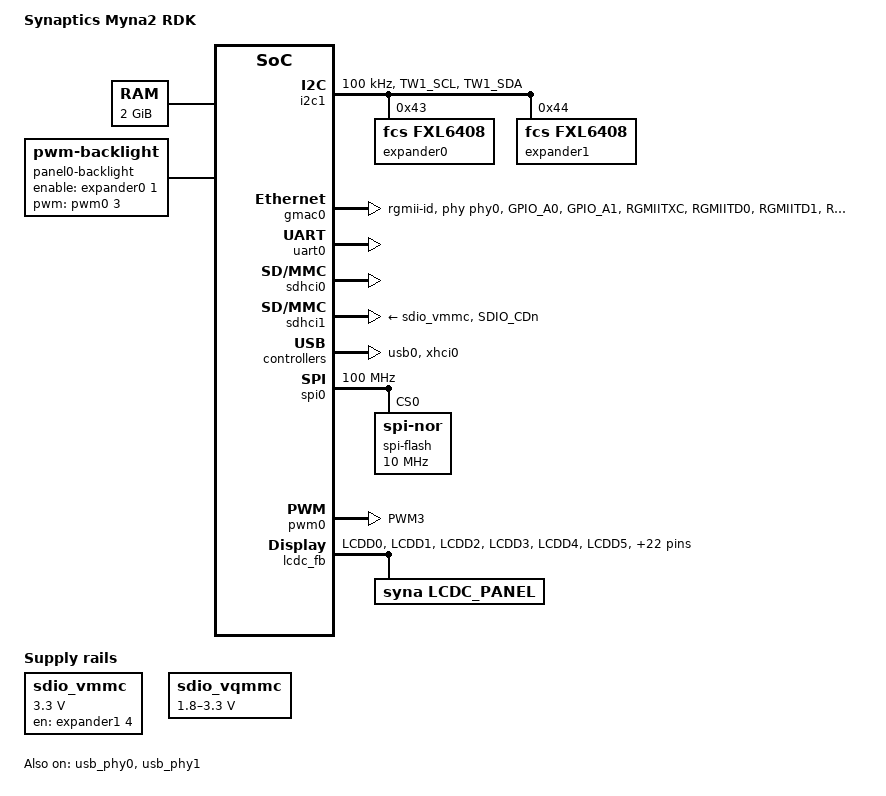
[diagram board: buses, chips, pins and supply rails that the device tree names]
// SPDX-License-Identifier: GPL-2.0+
/*
 * Copyright (C) 2016~2023 Synaptics Incorporated. All rights reserved.
 *
 * This program is free software; you can redistribute it and/or modify
 * it under the terms of the GNU General Public License version 2 or
 * later as published by the Free Software Foundation.
 *
 * INFORMATION CONTAINED IN THIS DOCUMENT IS PROVIDED "AS-IS," AND
 * SYNAPTICS EXPRESSLY DISCLAIMS ALL EXPRESS AND IMPLIED WARRANTIES,
 * INCLUDING ANY IMPLIED WARRANTIES OF MERCHANTABILITY AND FITNESS FOR
 * A PARTICULAR PURPOSE, AND ANY WARRANTIES OF NON-INFRINGEMENT OF ANY
 * INTELLECTUAL PROPERTY RIGHTS. IN NO EVENT SHALL SYNAPTICS BE LIABLE
 * FOR ANY DIRECT, INDIRECT, INCIDENTAL, SPECIAL, PUNITIVE, OR
 * CONSEQUENTIAL DAMAGES ARISING OUT OF OR IN CONNECTION WITH THE USE
 * OF THE INFORMATION CONTAINED IN THIS DOCUMENT, HOWEVER CAUSED AND
 * BASED ON ANY THEORY OF LIABILITY, WHETHER IN AN ACTION OF CONTRACT,
 * NEGLIGENCE OR OTHER TORTIOUS ACTION, AND EVEN IF SYNAPTICS WAS
 * ADVISED OF THE POSSIBILITY OF SUCH DAMAGE. IF A TRIBUNAL OF
 * COMPETENT JURISDICTION DOES NOT PERMIT THE DISCLAIMER OF DIRECT
 * DAMAGES OR ANY OTHER DAMAGES, SYNAPTICS' TOTAL CUMULATIVE LIABILITY
 * TO ANY PARTY SHALL NOT EXCEED ONE HUNDRED U.S. DOLLARS.
 */

/dts-v1/;

#include "myna2.dtsi"
#include <dt-bindings/gpio/gpio.h>

/ {
	model = "Synaptics Myna2 RDK";
	compatible = "Synaptics,myna2", "Synaptics,asserial";

	memory {
		device_type = "memory";
		reg = <0 0 0 0x80000000>;
	};

	chosen {
		stdout-path = &uart0;
	};

	regulators {
		compatible = "simple-bus";
		#address-cells = <1>;
		#size-cells = <0>;

		sdio_vmmc: sdio_vmmc {
			compatible = "regulator-fixed";
			regulator-min-microvolt = <3300000>;
			regulator-max-microvolt = <3300000>;
			regulator-name = "vmmc_sdio";
			enable-active-high;
			gpio = <&expander1 4 GPIO_ACTIVE_HIGH>;
		};

		sdio_vqmmc: sdio_vqmmc {
			compatible = "regulator-gpio";
			pinctrl-names = "default";
			regulator-min-microvolt = <1800000>;
			regulator-max-microvolt = <3300000>;
			regulator-name = "vqmmc_sdio";
			regulator-type = "voltage";
			states = <1800000 0x0 3300000 0x1>;
			gpios = <&expander1 6 GPIO_ACTIVE_HIGH>;
		};
	};

	firmware {
		optee {
			compatible = "linaro,optee-tz";
			method = "smc";
		};
	};

	panel0-backlight {
		compatible = "pwm-backlight";
		status = "okay";
		pwms = <&pwm0 3 1000000 0>;
		brightness-levels = <0 36 72 108 144 180 212 255>;
		default-brightness-level = <7>;
		enable-gpios = <&expander0 1 GPIO_ACTIVE_HIGH>;
	};
};

&pinctrl {
	emmc_pmux: emmc-pmux {
		groups = "EMMC_RSTn", "EMMC_DATA0", "EMMC_DATA1", "EMMC_DATA2", "EMMC_DATA3", "EMMC_DATA4", "EMMC_DATA5", "EMMC_DATA6", "EMMC_DATA7", "EMMC_CLK", "EMMC_CMD";
		function = "emmc";
	};

	sdio_pmux: sdio_pmux {
		groups = "SDIO_CDn";
		function = "sdio";
	};

	rgmii_pmux: rgmii-pmux {
		groups = "GPIO_A0", "GPIO_A1", "RGMIITXC", "RGMIITD0", "RGMIITD1", "RGMIITD2", "RGMIITD3", "RGMIITXCTL", "RGMIIRXC", "RGMIIRD0", "RGMIIRD1", "RGMIIRD2", "RGMIIRD3", "RGMIIRXCTL", "RGMII_CLK_OUT";
		function = "rgmii";
	};

	i2c1_pmux: i2c1-pmux {
		groups = "TW1_SCL", "TW1_SDA";
		function = "tw1";
		drive-strength = <7>;
	};

	pwm3_pmux: pwm3-pmux {
		groups = "PWM3";
		function = "pwm";
	};

	lcdc_pmux: lcdc-pmux {
		groups = "LCDD0", "LCDD1", "LCDD2", "LCDD3", "LCDD4", "LCDD5", "LCDD6", "LCDD7",
				 "LCDD8", "LCDD9", "LCDD10", "LCDD11", "LCDD12", "LCDD13", "LCDD14", "LCDD15",
				 "LCDD16", "LCDD17", "LCDD18", "LCDD19", "LCDD20", "LCDD21", "LCDD22", "LCDD23";
		function = "lcd";
	};

	lcdc_pmux1: lcdc-pmux1 {
		groups = "LPCLK";
		function = "lpclk";
	};

	lcdc_gpio_pmux: lcdc-gpio-pmux {
		groups = "LCDGPIO0", "LCDGPIO1", "LCDGPIO2";
		function = "lcdgpio";
	};
};

&i2c1 {
	status = "okay";
	pinctrl-0 = <&i2c1_pmux>;
	pinctrl-names = "default";
	clock-frequency = <100000>;
	i2c-sda-hold-time-ns = <449>;
	i2c-scl-rising-time-ns = <120>;
	i2c-scl-falling-time-ns = <20>;

	expander0: gpio@43 {
		compatible = "fcs,fxl6408";
		reg = <0x43>;
		gpio-controller;
		#gpio-cells = <2>;
	};

	expander1: gpio@44 {
		compatible = "fcs,fxl6408";
		reg = <0x44>;
		gpio-controller;
		#gpio-cells = <2>;
	};
};

&phy0 {
	reg = <0>;
};

&gmac0 {
	status = "okay";
	max-speed = <1000>;
	phy-mode = "rgmii-id";
	phy-handle = <&phy0>;
	phy = <&phy0>;
	pinctrl-names = "default";
	pinctrl-0 = <&rgmii_pmux>;
	snps,reset-gpio = <&expander0 3 GPIO_ACTIVE_HIGH>;
	snps,reset-active-high;
	snps,reset-delays-us = <0 10000 50000>;
};

&CPU_SLEEP_0 {
	status = "disabled";
};

&uart0 {
	status = "okay";
};

&sdhci0 {
	status = "okay";
	mmc-ddr-1_8v;
	mmc-hs200-1_8v;
	mmc-hs400-1_8v;
	fixed-voltage;
};

&sdhci1 {
	status="okay";
	pinctrl-0 = <&sdio_pmux>;
	pinctrl-names = "default";
	sdhci-sdio;
	cap-sd-highspeed;
	sd-uhs-sdr12;
	sd-uhs-sdr25;
	sd-uhs-sdr50;
	sd-uhs-sdr104;
	fixed-voltage;
	vmmc-supply = <&sdio_vmmc>;
	vqmmc-supply = <&sdio_vqmmc>;
};

&usb_phy0 {
	status = "okay";
};

&usb0 {
	status = "okay";
};

&spi0 {
	status = "okay";
	max-write-size = <128>;
	clock-frequency = <100000000>;
	spi-flash@0 {
		#address-cells = <1>;
		#size-cells = <1>;
		compatible = "jedec,spi-nor";
		reg = <0>;
		memory-map = <0x0 0xf0000000 0x0 0x4000000>;
		spi-max-frequency = <10000000>;
	};
};

&xhci0 {
	status = "okay";
};

&usb_phy1  {
	status = "okay";
};

&pwm0 {
	status = "okay";
	pinctrl-0 = <&pwm3_pmux>;
	pinctrl-names = "default";
};

&lcdc_fb {
	status = "okay";
	irqno = <62>;
	pinctrl-0 = <&lcdc_pmux>, <&lcdc_pmux1>, <&lcdc_gpio_pmux>;
	pinctrl-names ="default", "default", "default", "default";
	disp-mode = <2>;
	disp1-bits_per_pixel = <24>;
	disp1-busformat = <0>;
	disp2-bits_per_pixel = <24>;
	disp2-busformat = <0>;

	lcdc_panel {
		status= "okay";
		compatible = "syna,lcdc_panel";
		hact = <800>;
		hfp = <210>;
		hsa = <2>;
		hbp = <46>;
		vact = <480>;
		vfp = <22>;
		vsa = <2>;
		vbp = <23>;
		pixclockKhz = <33300>;
		rgbswap = <1>;
	};

	dsi_panel {
		status= "okay";

		ACTIVE_WIDTH = <800>;
		HFP = <60>;
		HSYNCWIDTH = <32>;
		HBP = <60>;
		ACTIVE_HEIGHT = <1280>;
		VFP = <16>;
		VSYNCWIDTH = <2>;
		VBP = <14>;
		FREQ = <75000>;

		HTOTAL = <952>;
		Lanes = <4>;
		Vid_mode = <2>;
		virtual_chan = <0>;
		Clk_Lane_Polarity = <0>;
		Data_Lane_Polarity = <0>;
		Recv_ack = <0>;
		Loosely_18 = <0>;
		H_polarity = <1>;
		V_Polarity = <1>;
		Data_Polarity = <1>;
		Eotp_tx = <1>;
		Eotp_rx = <0>;
		non-Continuous_clk = <1>;
		dpi_lp_cmd = <1>;
		Color_coding = <5>;
		Chunks = <0>;
		Null_Pkt = <0>;
		Byte_clk = <56250>;
	};
};
